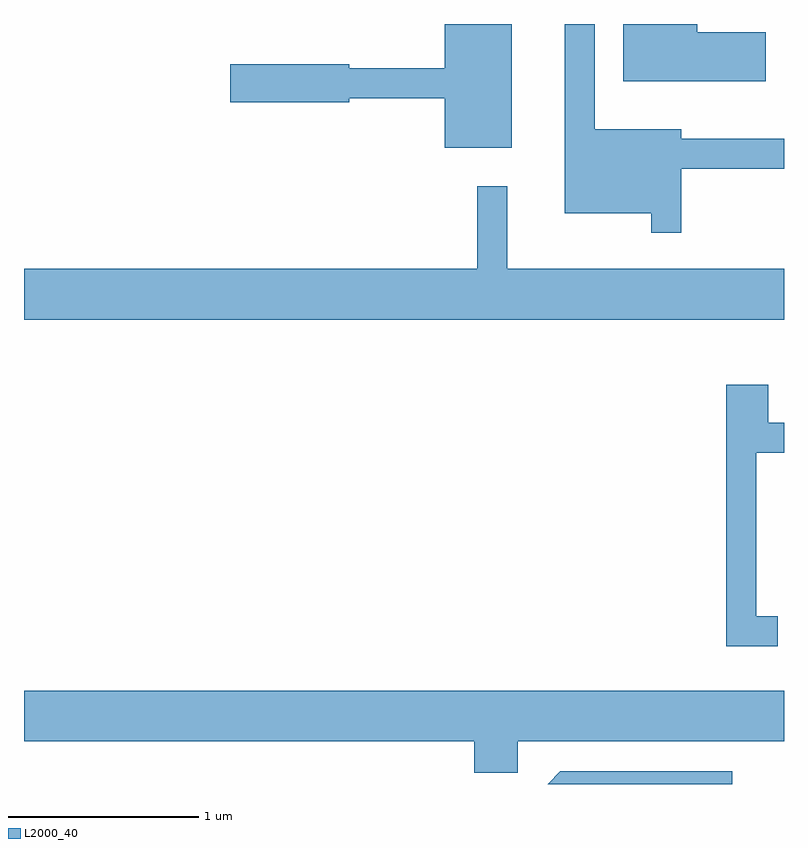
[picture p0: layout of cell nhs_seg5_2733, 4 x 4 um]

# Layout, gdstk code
import gdstk
lib = gdstk.Library(unit=1e-6, precision=1e-09)
def P(c, l, *ps):  # polygons
    for p in ps: c.add(gdstk.Polygon(p, *l))
L2000_40 = (2000, 40)

nhs_seg5_2733 = lib.new_cell('nhs_seg5_2733')
P(nhs_seg5_2733, L2000_40, [(269.069,1515.311),(269.611,1515.311),(269.611,1515.469),(269.069,1515.469),(269.069,1515.519),(268.614,1515.519),(268.614,1516.072),(268.456,1516.072),(268.456,1515.076),(268.911,1515.076),(268.911,1514.973),(269.069,1514.973)],
  [(268.179,1516.072),(267.826,1516.072),(267.826,1515.839),(267.324,1515.839),(267.324,1515.859),(266.696,1515.859),(266.696,1515.661),(267.324,1515.661),(267.324,1515.681),(267.826,1515.681),(267.826,1515.421),(268.179,1515.421)],
  [(269.514,1516.029),(269.154,1516.029),(269.154,1516.072),(268.766,1516.072),(268.766,1515.771),(269.514,1515.771)],
  [(269.611,1514.784),(268.154,1514.784),(268.154,1515.218),(267.996,1515.218),(267.996,1514.784),(265.611,1514.784),(265.611,1514.516),(269.611,1514.516)],
  [(269.578,1512.954),(269.464,1512.954),(269.464,1513.816),(269.611,1513.816),(269.611,1513.974),(269.529,1513.974),(269.529,1514.174),(269.306,1514.174),(269.306,1512.796),(269.578,1512.796)],
  [(268.209,1512.296),(269.611,1512.296),(269.611,1512.564),(265.611,1512.564),(265.611,1512.296),(267.981,1512.296),(267.981,1512.131),(268.209,1512.131)],
  [(269.339,1512.139),(268.434,1512.139),(268.367,1512.072),(269.339,1512.072)])

lib.write_gds('nhs_seg5_2733.gds')
